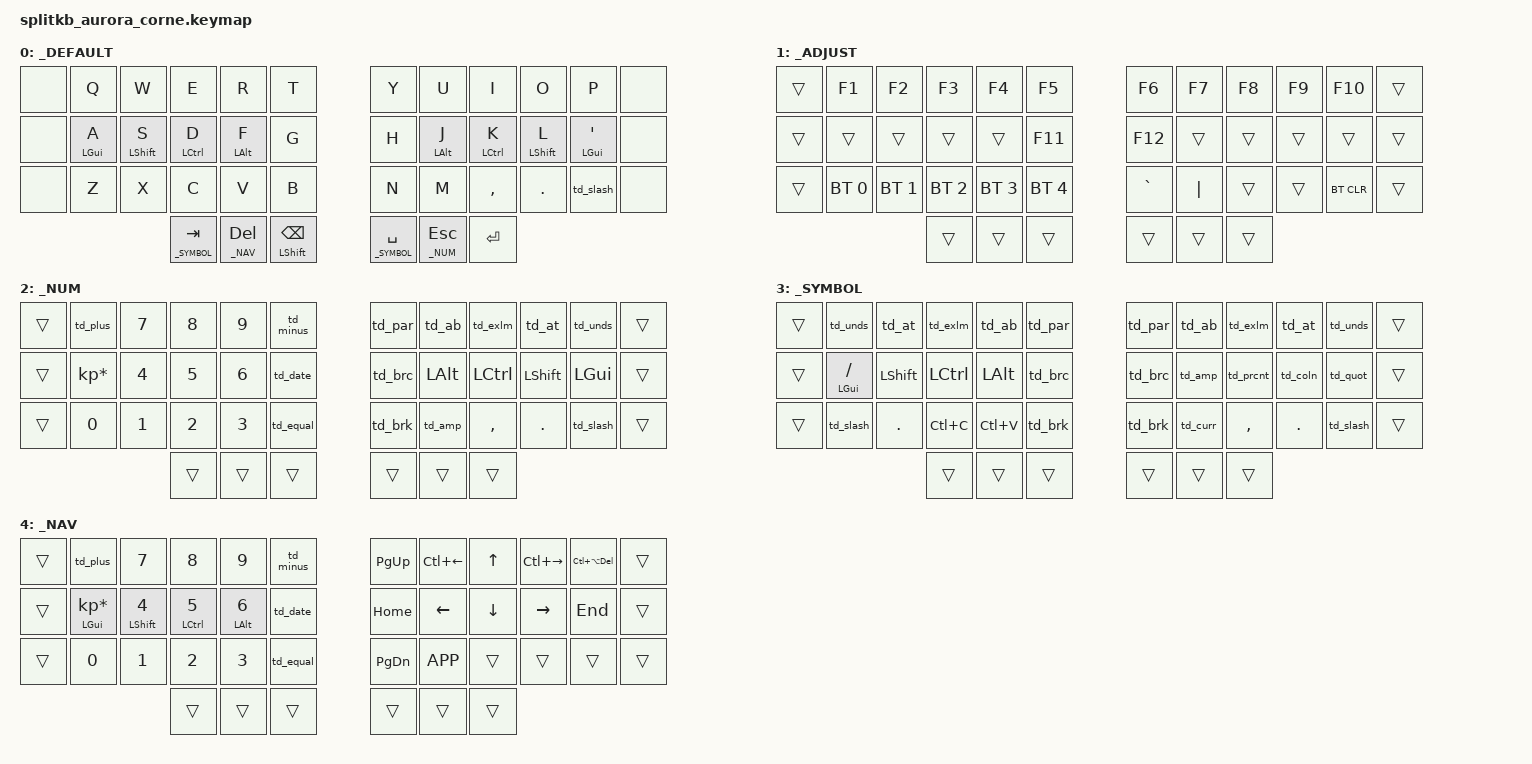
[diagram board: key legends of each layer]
/*
 * Copyright (c) 2020 The ZMK Contributors
 *
 * SPDX-License-Identifier: MIT
 * little change to test commit
 */

#include <behaviors.dtsi>
#include <dt-bindings/zmk/keys.h>
#include <dt-bindings/zmk/bt.h>

 #define _DEFAULT 0
 #define _ADJUST 1
 #define _NUM 2
 #define _SYMBOL 3
 #define _NAV 4

/*turns out the label being unique here matters. It does not cause an error but dupes will almost be assigned at random
or at least there will be some confusion causing some interesting bugs to occur*/
/ { 
    behaviors {
        hml: homerow_mods_left {
            compatible = "zmk,behavior-hold-tap";
            label = "HOMEROW_MODS_LEFT";
            #binding-cells = <2>;
            tapping-term-ms = <280>;
            quick-tap-ms = <200>;
            flavor = "balanced";
            require-prior-idle-ms = <1>;
            bindings = <&kp>, <&kp>;
            hold-trigger-key-positions = <
                6 7 8 9 10
                18 19 20 21 22
                28
                30 31 32 33 34
                36 37 38
            >;
            hold-trigger-on-release;
        };

        hmc: homerow_mods_ctrl {
            compatible = "zmk,behavior-hold-tap";
            label = "HOMEROW_MODS_CTRL";
            #binding-cells = <2>;
            tapping-term-ms = <280>;
            quick-tap-ms = <200>;
            flavor = "balanced";
            require-prior-idle-ms = <1>;
            bindings = <&kp>, <&kp>;
            hold-trigger-key-positions = <
                6 7 8 9 10
                13 14
                18 19 20 21 22 
                25 26 27 28 29
                30 31 32 33 34
                36 37 38
            >;
            hold-trigger-on-release;
        };

        hmr: homerow_mods_right {
            compatible = "zmk,behavior-hold-tap";
            label = "HOMEROW_MODS_RIGHT";
            #binding-cells = <2>;
            tapping-term-ms = <280>;
            quick-tap-ms = <200>;
            flavor = "balanced";
            require-prior-idle-ms = <1>;
            bindings = <&kp>, <&kp>;
            hold-trigger-key-positions = <
                0 1 2 3 4 5
                12 13 14 15 16 17
                24 25 26 27 28 29        
            >;
            hold-trigger-on-release;
        };

        ti: tapus_interuptus {
            compatible = "zmk,behavior-hold-tap";
            label = "TAPUS_INTERUPTUS";
            #binding-cells = <2>;
            tapping-term-ms = <200>;
            quick-tap-ms = <300>;
            flavor = "hold-preferred";
            bindings = <&kp>, <&kp>;
        };

        td_par: tap_dance_0 {
            compatible = "zmk,behavior-tap-dance";
            label = "TAP_DANCE_0";
            #binding-cells = <0>;
            tapping-term-ms = <200>;
            bindings = <&kp LPAR>, <&kp RPAR>;
        };

        td_brc: tap_dance_1 {
            compatible = "zmk,behavior-tap-dance";
            label = "TAP_DANCE_1";
            #binding-cells = <0>;
            tapping-term-ms = <200>;
            bindings = <&kp LBRC>, <&kp RBRC>;
        };        

        td_brk: tap_dance_2 {
            compatible = "zmk,behavior-tap-dance";
            label = "TAP_DANCE_2";
            #binding-cells = <0>;
            tapping-term-ms = <200>;
            bindings = <&kp LBKT>, <&kp RBKT>;
        }; 

        td_ab: tap_dance_3 {
            compatible = "zmk,behavior-tap-dance";
            label = "TAP_DANCE_3";
            #binding-cells = <0>;
            tapping-term-ms = <200>;
            bindings = <&kp LT>, <&kp GT>;
        };

        td_exlm: tap_dance_4 {
            compatible = "zmk,behavior-tap-dance";
            label = "TAP_DANCE_4";
            #binding-cells = <0>;
            tapping-term-ms = <200>;
            bindings = <&kp EXCL>, <&kp QMARK>;
        };

        td_quot: tap_dance_5 {
            compatible = "zmk,behavior-tap-dance";
            label = "TAP_DANCE_5";
            #binding-cells = <0>;
            tapping-term-ms = <200>;
            bindings = <&kp SQT>, <&kp AT>;
        };

        td_unds: tap_dance_6 {
            compatible = "zmk,behavior-tap-dance";
            label = "TAP_DANCE_6";
            #binding-cells = <0>;
            tapping-term-ms = <200>;
            bindings = <&kp MINUS>, <&kp UNDER>;
        };        

        td_coln: tap_dance_7 {
            compatible = "zmk,behavior-tap-dance";
            label = "TAP_DANCE_7";
            #binding-cells = <0>;
            tapping-term-ms = <200>;
            bindings = <&kp COLON>, <&kp SEMI>;
        };

        td_slash: tap_dance_8 {
            compatible = "zmk,behavior-tap-dance";
            label = "TAP_DANCE_8";
            #binding-cells = <0>;
            tapping-term-ms = <200>;
            bindings = <&kp SLASH>, <&kp NUBS>;
        };

        td_curr: tap_dance_9 {
            compatible = "zmk,behavior-tap-dance";
            label = "TAP_DANCE_9";
            #binding-cells = <0>;
            tapping-term-ms = <200>;
            bindings = <&kp HASH>, <&kp DOLLAR>;
        };

        td_at: tap_dance_10 {
            compatible = "zmk,behavior-tap-dance";
            label = "TAP_DANCE_10";
            #binding-cells = <0>;
            tapping-term-ms = <200>;
            bindings = <&kp DQT>, <&kp NUHS>;
        };      

        td_date: tap_dance_11 {
            compatible = "zmk,behavior-tap-dance";
            label = "TAP_DANCE_11";
            #binding-cells = <0>;
            tapping-term-ms = <200>;
            bindings = <&kp SLASH>, <&kp COLN>;
        };        

        td_amp: tap_dance_12 {
            compatible = "zmk,behavior-tap-dance";
            label = "TAP_DANCE_12";
            #binding-cells = <0>;
            tapping-term-ms = <200>;
            bindings = <&kp AMPS>, <&kp LS(NUBS)>;
        }; 

        td_equal: tap_dance_13 {
            compatible = "zmk,behavior-tap-dance";
            label = "TAP_DANCE_13";
            #binding-cells = <0>;
            tapping-term-ms = <200>;
            bindings = <&kp EQUAL>, <&kp PRCNT>;
        };

        td_plus: tap_dance_14 {
            compatible = "zmk,behavior-tap-dance";
            label = "TAP_DANCE_14";
            #binding-cells = <0>;
            tapping-term-ms = <200>;
            bindings = <&kp PLUS>, <&kp DOT>;
        };

        td_minus: tap_dance_15 {
            compatible = "zmk,behavior-tap-dance";
            label = "TAP_DANCE_15";
            #binding-cells = <0>;
            tapping-term-ms = <200>;
            bindings = <&kp MINUS>, <&kp DOLLAR>;
        };

        /*leaving this v/ c tapdance in but not using it just now*/
        td_vtoc: tap_dance_17 {
            compatible = "zmk,behavior-tap-dance";
            label = "TAP_DANCE_17";
            #binding-cells = <0>;
            tapping-term-ms = <400>;
            bindings = <&kp V>, <&kp C>;
        }; 

        td_prcnt: tap_dance_18 {
            compatible = "zmk,behavior-tap-dance";
            label = "TAP_DANCE_18";
            #binding-cells = <0>;
            tapping-term-ms = <400>;
            bindings = <&kp PRCNT>, <&kp KP_MULTIPLY>;
        };
    };
};


/ {
combos {
        compatible = "zmk,combos";
        combo_adjust_layer {
            timeout-ms = <50>;
            key-positions = <37 40>;
            bindings = <&mo _ADJUST>;
        };

        combo_default_layer {
            timeout-ms = <50>;
            key-positions = <38 39>;
            bindings = <&to _DEFAULT>;
        };

        combo_qw_esc {
            timeout-ms = <50>;
            key-positions = <1 2>;
            bindings = <&kp ESC>;
        };

        combo_cv_ent {
            timeout-ms = <50>;
            key-positions = <27 28>;
            bindings = <&kp RET>;
        };

    };
};        

/ {

keymap {
  compatible = "zmk,keymap";

        _DEFAULT {
        bindings = <
        &none  &kp Q &kp W &kp E &kp R &kp T                                &kp Y &kp U  &kp I  &kp O   &kp P  &none
        &none  &hml LGUI A &hml LSHIFT S &hmc LCTRL D &hml LALT F &kp G         &kp H &hmr LALT J  &hmr LCTRL K &hmr LSHIFT L &hmr LGUI SINGLE_QUOTE  &none
        &none  &kp Z &kp X &kp C &kp V &kp B                                &kp N &kp M  &kp COMMA &kp DOT &td_slash  &none
        &lt _SYMBOL TAB &lt _NAV DEL &ti LSHFT BKSP                       &lt _SYMBOL SPACE &lt _NUM ESC &kp RET
        >;
        };


        _ADJUST {
        bindings = <
        &trans  &kp F1  &kp F2  &kp F3  &kp F4  &kp F5                                 &kp F6 &kp F7  &kp F8  &kp F9 &kp F10  &trans
        &trans  &trans  &trans  &trans  &trans  &kp F11                                &kp F12 &trans &trans  &trans &trans &trans
        &trans  &bt BT_SEL 0 &bt BT_SEL 1  &bt BT_SEL 2  &bt BT_SEL 3 &bt BT_SEL 4     &kp GRAVE  &kp PIPE  &trans  &trans  &bt BT_CLR &trans
        &trans  &trans  &trans                                                         &trans  &trans  &trans
        >;
        };


        _NUM {
        bindings = <
        &trans &td_plus &kp N7  &kp N8  &kp N9  &td_minus               &td_par  &td_ab  &td_exlm &td_at &td_unds  &trans
        &trans &kp KP_MULTIPLY  &kp N4  &kp N5  &kp N6  &td_date        &td_brc  &kp LALT  &kp LCTRL &kp LSHIFT &kp LGUI &trans
        &trans &kp N0  &kp N1  &kp N2  &kp N3  &td_equal              &td_brk  &td_amp  &kp COMMA  &kp DOT  &td_slash &trans
        &trans   &trans  &trans                                         &trans  &trans  &trans
        >;
        }; 


        _SYMBOL {
        bindings = <
        &trans &td_unds &td_at  &td_exlm  &td_ab  &td_par                        &td_par  &td_ab  &td_exlm &td_at &td_unds  &trans
        &trans &hml LGUI FSLH  &kp LSHIFT  &kp LCTRL  &kp LALT  &td_brc          &td_brc  &td_amp &td_prcnt &td_coln &td_quot &trans
        &trans &td_slash  &kp DOT &kp LC(C) &kp LC(V)  &td_brk                         &td_brk  &td_curr  &kp COMMA  &kp DOT  &td_slash &trans
        &trans   &trans  &trans                                                  &trans  &trans  &trans
        >;
        };        


        _NAV {
        bindings = <
        &trans &td_plus &kp N7  &kp N8  &kp N9  &td_minus                                       &kp PAGE_UP  &kp LC(LEFT)  &kp UP &kp LC(RIGHT)  &kp LC(LA(DEL))  &trans
        &trans &hml LGUI KP_MULTIPLY &hml LSHIFT N4 &hmc LCTRL N5  &hml LALT N6  &td_date      &kp HOME  &kp LEFT &kp DOWN &kp RIGHT &kp END &trans
        &trans &kp N0  &kp N1  &kp N2  &kp N3  &td_equal                                        &kp PAGE_DOWN  &kp K_APP  &trans  &trans  &trans  &trans
        &trans  &trans  &trans                                                                  &trans  &trans  &trans
        >;
        };
  };
};
